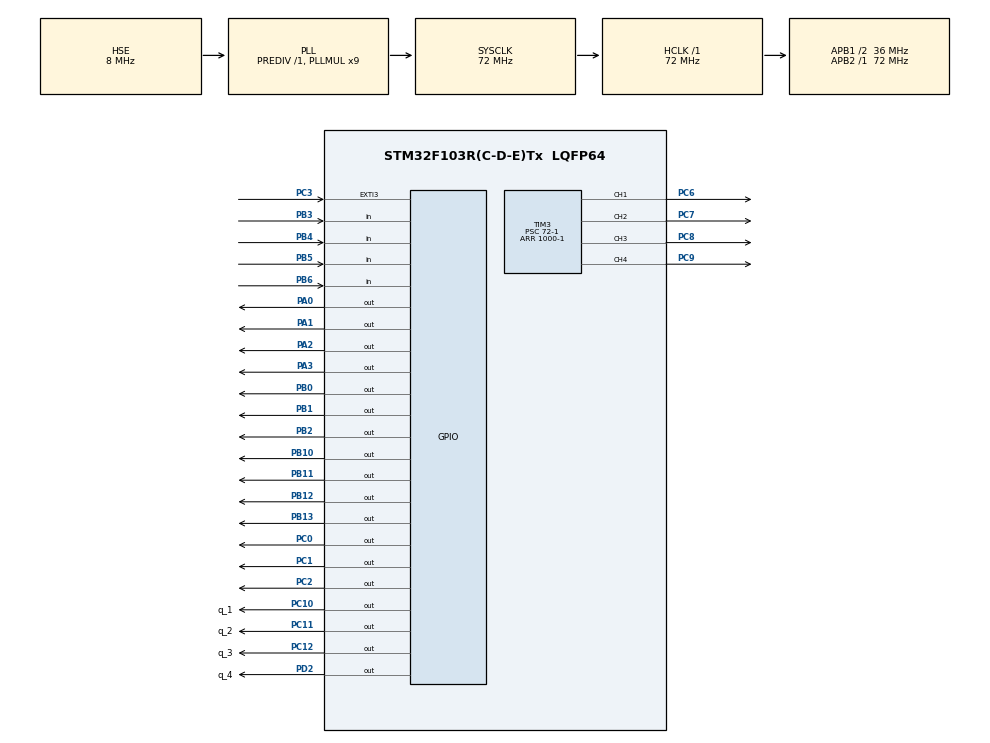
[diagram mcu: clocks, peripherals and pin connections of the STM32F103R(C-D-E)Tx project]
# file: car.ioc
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Mcu.Family=STM32F1
PA2.GPIO_PuPd=GPIO_NOPULL
PB10.PinState=GPIO_PIN_RESET
PD2.GPIO_ModeDefaultOutputPP=GPIO_MODE_OUTPUT_PP
PB10.GPIO_Speed=GPIO_SPEED_FREQ_HIGH
PB10.GPIO_PuPd=GPIO_NOPULL
PC10.Signal=GPIO_Output
PC12.Signal=GPIO_Output
PA3.GPIO_PuPd=GPIO_NOPULL
PB2.GPIO_Speed=GPIO_SPEED_FREQ_HIGH
PA2.GPIO_Speed=GPIO_SPEED_FREQ_HIGH
NVIC.EXTI3_IRQn=true\:0\:0\:false\:false\:true\:true\:true
PD2.GPIO_Speed=GPIO_SPEED_FREQ_HIGH
PC10.GPIO_Speed=GPIO_SPEED_FREQ_HIGH
PB11.GPIO_PuPd=GPIO_NOPULL
PB11.Signal=GPIO_Output
PA3.GPIO_Speed=GPIO_SPEED_FREQ_HIGH
PB13.Signal=GPIO_Output
TIM3.Channel-PWM\ Generation4\ CH4=TIM_CHANNEL_4
RCC.SYSCLKSource=RCC_SYSCLKSOURCE_PLLCLK
ProjectManager.StackSize=0x400
PD1-OSC_OUT.Signal=RCC_OSC_OUT
PB11.GPIO_Speed=GPIO_SPEED_FREQ_HIGH
PB10.GPIO_ModeDefaultOutputPP=GPIO_MODE_OUTPUT_PP
PB0.PinState=GPIO_PIN_RESET
PB1.GPIO_PuPd=GPIO_NOPULL
RCC.HCLKFreq_Value=72000000
RCC.APB2TimFreq_Value=72000000
TIM3.Period=1000-1
PB6.Signal=GPIO_Input
PB13.GPIO_ModeDefaultOutputPP=GPIO_MODE_OUTPUT_PP
PC7.Signal=S_TIM3_CH2
PB12.PinState=GPIO_PIN_RESET
PC3.Signal=GPXTI3
PA1.GPIO_PuPd=GPIO_NOPULL
RCC.AHBFreq_Value=72000000
TIM3.Channel-PWM\ Generation1\ CH1=TIM_CHANNEL_1
PA0-WKUP.GPIO_Speed=GPIO_SPEED_FREQ_HIGH
PB2.Signal=GPIO_Output
PB12.GPIO_ModeDefaultOutputPP=GPIO_MODE_OUTPUT_PP
RCC.PLLMUL=RCC_PLL_MUL9
PA2.PinState=GPIO_PIN_RESET
PB1.GPIO_Speed=GPIO_SPEED_FREQ_HIGH
TIM3.Prescaler=72-1
PC11.GPIO_Label=q_2
NVIC.TIM2_IRQn=true\:0\:0\:false\:false\:true\:true\:true
PC11.GPIO_Speed=GPIO_SPEED_FREQ_HIGH
SH.S_TIM3_CH1.0=TIM3_CH1,PWM Generation1 CH1
PC10.PinState=GPIO_PIN_RESET
PB2.GPIO_PuPd=GPIO_NOPULL
PB1.PinState=GPIO_PIN_RESET
PC10.GPIO_ModeDefaultOutputPP=GPIO_MODE_OUTPUT_PP
Mcu.Package=LQFP64
TIM2.Prescaler=72-1
PB1.Signal=GPIO_Output
PA2.GPIO_ModeDefaultOutputPP=GPIO_MODE_OUTPUT_PP
PB11.PinState=GPIO_PIN_RESET
PA1.PinState=GPIO_PIN_RESET
RCC.APB1TimFreq_Value=72000000
TIM3.Pulse-PWM\ Generation2\ CH2=100
PB0.GPIO_ModeDefaultOutputPP=GPIO_MODE_OUTPUT_PP
PB2.GPIO_ModeDefaultOutputPP=GPIO_MODE_OUTPUT_PP
VP_TIM3_VS_ClockSourceINT.Mode=Internal
PB4.Signal=GPIO_Input
PA3.Signal=GPIO_Output
RCC.PLLSourceVirtual=RCC_PLLSOURCE_HSE
PA3.GPIO_ModeDefaultOutputPP=GPIO_MODE_OUTPUT_PP
TIM3.CounterMode=TIM_COUNTERMODE_DOWN
PD1-OSC_OUT.Mode=HSE-External-Oscillator
PC10.GPIO_Label=q_1
PC11.Signal=GPIO_Output
PC3.GPIO_ModeDefaultEXTI=GPIO_MODE_IT_RISING
PC8.Signal=S_TIM3_CH3
PC2.Signal=GPIO_Output
PC6.Signal=S_TIM3_CH1
PC12.GPIO_ModeDefaultOutputPP=GPIO_MODE_OUTPUT_PP
PD0-OSC_IN.Signal=RCC_OSC_IN
PC0.Signal=GPIO_Output
RCC.APB1CLKDivider=RCC_HCLK_DIV2
VP_SYS_VS_ND.Mode=No_Debug
SH.S_TIM3_CH3.0=TIM3_CH3,PWM Generation3 CH3
PA0-WKUP.Signal=GPIO_Output
PB0.GPIO_Speed=GPIO_SPEED_FREQ_HIGH
TIM3.Channel-PWM\ Generation3\ CH3=TIM_CHANNEL_3
TIM3.Pulse-PWM\ Generation1\ CH1=100
PC12.PinState=GPIO_PIN_RESET
ProjectManager.TargetToolchain=MDK-ARM V5
PB13.GPIO_Speed=GPIO_SPEED_FREQ_HIGH
RCC.USBFreq_Value=72000000
PA1.Signal=GPIO_Output
PB11.GPIO_ModeDefaultOutputPP=GPIO_MODE_OUTPUT_PP
PB12.GPIO_Speed=GPIO_SPEED_FREQ_HIGH
PD0-OSC_IN.Mode=HSE-External-Oscillator
PB10.Signal=GPIO_Output
SH.S_TIM3_CH2.0=TIM3_CH2,PWM Generation2 CH2
board=custom
PB13.GPIO_PuPd=GPIO_NOPULL
RCC.APB2Freq_Value=72000000
PB13.PinState=GPIO_PIN_RESET
PC11.PinState=GPIO_PIN_RESET
VP_TIM2_VS_ClockSourceINT.Mode=Internal
PA1.GPIO_Speed=GPIO_SPEED_FREQ_HIGH
PC1.GPIO_Speed=GPIO_SPEED_FREQ_HIGH
PC11.GPIO_ModeDefaultOutputPP=GPIO_MODE_OUTPUT_PP
TIM2.Period=10000-1
Mcu.Name=STM32F103R(C-D-E)Tx
PB2.PinState=GPIO_PIN_RESET
PA2.Signal=GPIO_Output
PB3.Signal=GPIO_Input
RCC.SYSCLKFreq_VALUE=72000000
PB5.Signal=GPIO_Input
PC12.GPIO_Label=q_3
ProjectManager.HeapSize=0x200
PC1.GPIO_ModeDefaultOutputPP=GPIO_MODE_OUTPUT_PP
NVIC.PriorityGroup=NVIC_PRIORITYGROUP_4
TIM3.Channel-PWM\ Generation2\ CH2=TIM_CHANNEL_2
PA3.PinState=GPIO_PIN_RESET
PC9.Signal=S_TIM3_CH4
PB1.GPIO_ModeDefaultOutputPP=GPIO_MODE_OUTPUT_PP
PD2.Signal=GPIO_Output
PB12.GPIO_PuPd=GPIO_NOPULL
RCC.APB1Freq_Value=36000000
PC12.GPIO_Speed=GPIO_SPEED_FREQ_HIGH
PB0.Signal=GPIO_Output
PC1.Signal=GPIO_Output
PB12.Signal=GPIO_Output
PD2.GPIO_Label=q_4
PB0.GPIO_PuPd=GPIO_NOPULL
SH.S_TIM3_CH4.0=TIM3_CH4,PWM Generation4 CH4
PA1.GPIO_ModeDefaultOutputPP=GPIO_MODE_OUTPUT_PP

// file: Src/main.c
/* USER CODE BEGIN Header */
/**
  ******************************************************************************
  * @file           : main.c
  * @brief          : Main program body
  ******************************************************************************
  * @attention
  *
  * <h2><center>&copy; Copyright (c) 2020 STMicroelectronics.
  * All rights reserved.</center></h2>
  *
  * This software component is licensed by ST under BSD 3-Clause license,
  * the "License"; You may not use this file except in compliance with the
  * License. You may obtain a copy of the License at:
  *                        opensource.org/licenses/BSD-3-Clause
  *
  ******************************************************************************
  */
/* USER CODE END Header */

#include "main.h"
#include "tim.h"
#include "gpio.h"

/* USER CODE BEGIN Includes */
#include "car.h"
#include "lcd12864.h"
#include "color.h"

/* USER CODE END Includes */

void SystemClock_Config(void);

/* USER CODE BEGIN 0 */
extern uint8_t q1;
extern uint8_t q2;
extern uint8_t q3;
extern uint8_t q4;
extern int R,G,B;

void display_RGB()
{
	LCD_Write_Com(0x01);
	char ch[6];
	sprintf(ch,"R:%d",R);
	LCD_Write_Com(0x80);
	send_text(ch);
	sprintf(ch,"G:%d",G);
	LCD_Write_Com(0x90);
	send_text(ch);
	sprintf(ch,"B:%d",B);
	LCD_Write_Com(0x88);
	send_text(ch);

}
/* USER CODE END 0 */

int main(void)
{

	/* MCU Configuration--------------------------------------------------------*/

	/* Reset of all peripherals, Initializes the Flash interface and the Systick. */
	HAL_Init();

	/* Configure the system clock */
	SystemClock_Config();

	/* Initialize all configured peripherals */
	MX_GPIO_Init();
	MX_TIM3_Init();
	MX_TIM2_Init();
	/* USER CODE BEGIN 2 */

	HAL_TIM_PWM_Start(&htim3,TIM_CHANNEL_1);
	HAL_TIM_PWM_Start(&htim3,TIM_CHANNEL_2);
	HAL_TIM_PWM_Start(&htim3,TIM_CHANNEL_3);
	HAL_TIM_PWM_Start(&htim3,TIM_CHANNEL_4);
	HAL_TIM_Base_Start_IT(&htim2);

	TSC_Init();//TSC3200颜色传感器初始化

	HAL_Delay(1000);
	int color = 0;
	int color_flag = 0;
	LCD_Init();
	display_RGB();
	/* USER CODE END 2 */
	int flag=0;
	/* Infinite loop */
	while (1)
	{

    /* USER CODE BEGIN 3 */
		//起始走直线阶段
		color = TCS3200_Distinguish();
		if(flag==0)
		{
			car();
			if(q1==1&&q2==1&&q3==1&&q4==1)
			{
				if(color!=0)                     //如果识别到颜色
				{
					display_RGB();
					HAL_GPIO_WritePin(GPIOC, GPIO_PIN_1, GPIO_PIN_SET);  //检测到物块拉高电平
					color_flag = color;
					color_judge(color_flag);

					flag = 1;
				}
			}
		}
		else if(flag==1) //去往放物块地点
		{
			car();
			if(q1==1&&q2==1&&q3==1&&q4==1)
			{
				HAL_GPIO_WritePin(GPIOC, GPIO_PIN_1, GPIO_PIN_RESET);  //到达放下的位置拉低电平
				color_end(color);

				flag = 0;
				display_RGB();
			}
		}
	}
	/* USER CODE END 3 */
}

void SystemClock_Config(void)
{
  RCC_OscInitTypeDef RCC_OscInitStruct = {0};
  RCC_ClkInitTypeDef RCC_ClkInitStruct = {0};

  /** Initializes the CPU, AHB and APB busses clocks
  */
  RCC_OscInitStruct.OscillatorType = RCC_OSCILLATORTYPE_HSE;
  RCC_OscInitStruct.HSEState = RCC_HSE_ON;
  RCC_OscInitStruct.HSEPredivValue = RCC_HSE_PREDIV_DIV1;
  RCC_OscInitStruct.HSIState = RCC_HSI_ON;
  RCC_OscInitStruct.PLL.PLLState = RCC_PLL_ON;
  RCC_OscInitStruct.PLL.PLLSource = RCC_PLLSOURCE_HSE;
  RCC_OscInitStruct.PLL.PLLMUL = RCC_PLL_MUL9;
  if (HAL_RCC_OscConfig(&RCC_OscInitStruct) != HAL_OK)
  {
    Error_Handler();
  }
  /** Initializes the CPU, AHB and APB busses clocks
  */
  RCC_ClkInitStruct.ClockType = RCC_CLOCKTYPE_HCLK|RCC_CLOCKTYPE_SYSCLK
                              |RCC_CLOCKTYPE_PCLK1|RCC_CLOCKTYPE_PCLK2;
  RCC_ClkInitStruct.SYSCLKSource = RCC_SYSCLKSOURCE_PLLCLK;
  RCC_ClkInitStruct.AHBCLKDivider = RCC_SYSCLK_DIV1;
  RCC_ClkInitStruct.APB1CLKDivider = RCC_HCLK_DIV2;
  RCC_ClkInitStruct.APB2CLKDivider = RCC_HCLK_DIV1;

  if (HAL_RCC_ClockConfig(&RCC_ClkInitStruct, FLASH_LATENCY_2) != HAL_OK)
  {
    Error_Handler();
  }
}

void Error_Handler(void)
{
}

/************************ (C) COPYRIGHT STMicroelectronics *****END OF FILE****/
